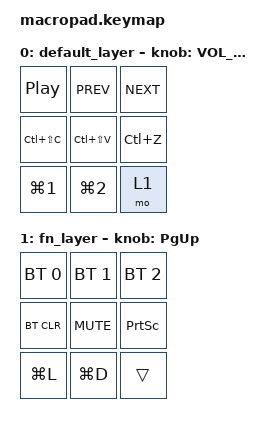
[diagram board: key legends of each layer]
#include <behaviors.dtsi>
#include <dt-bindings/zmk/keys.h>
#include <dt-bindings/zmk/bt.h>

/ {
    keymap {
        compatible = "zmk,keymap";

        default_layer {
            bindings = <
                &kp C_PLAY_PAUSE &kp C_PREV &kp C_NEXT
                &kp LC(LS(C)) &kp LC(LS(V)) &kp LC(Z)
                &kp LG(N1) &kp LG(N2) &mo 1
            >;

            sensor-bindings = <&inc_dec_kp C_VOL_UP C_VOL_DN>;
        };

        fn_layer {
            bindings = <
            &bt BT_SEL 0 &bt BT_SEL 1 &bt BT_SEL 2
            &bt BT_CLR &kp C_MUTE &kp PSCRN
            &kp LG(L) &kp LG(D) &trans 
            >;
            sensor-bindings = <&inc_dec_kp PG_UP PG_DN.;
        };
    };
};
